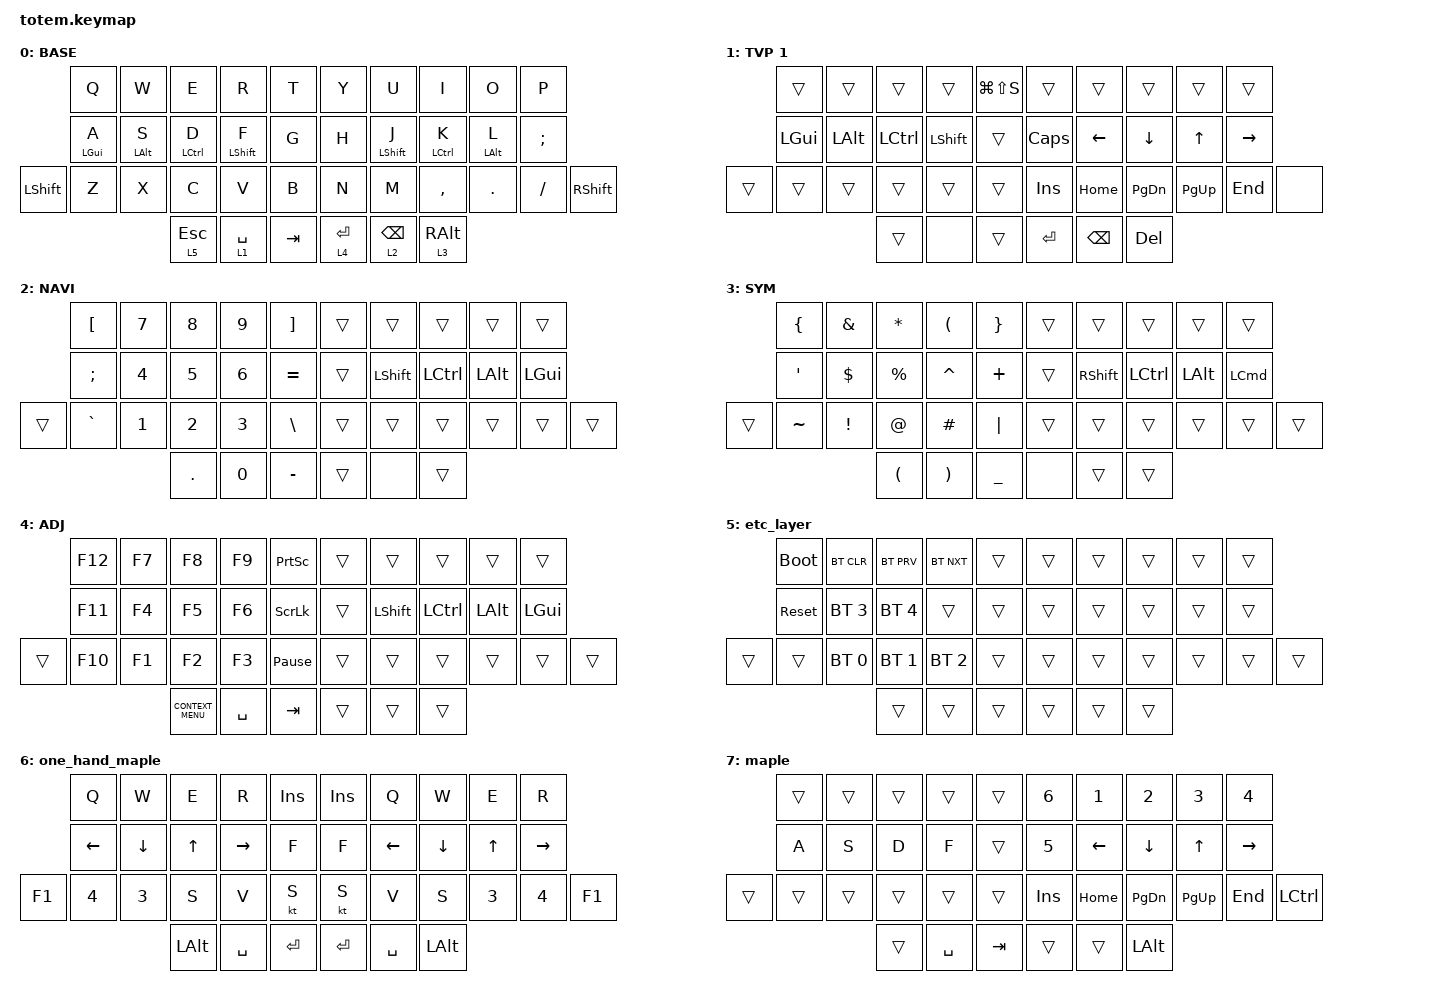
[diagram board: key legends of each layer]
//
//                                                        ▀▀▀▀▀     ▀▀▀▀▀          ▀▀█▀▀
//                                                        ▄▀▀▀▄  ▄  ▄▀▀▀▄  ▄  ▄▀▀▀▄  █  ▄▀▀▀▄
//                                                        █   █  █  █   █  █  █   █  █  █   █
//                                                         ▀▀▀   █   ▀▀▀   █   ▀▀▀   ▀   ▀▀▀
//                                                               █      ▄▄▄█▄▄▄    █   █  
//                                                               ▀      █  █  █     █▄█
//                                                             ▀▀▀▀▀    █  █  █      ▀
//                                                                      ▀  ▀  ▀
//
// ▄▄▄▄▄▄▄▄▄▄▄▄▄▄▄▄▄▄▄▄▄▄▄▄▄▄▄▄▄▄▄▄▄▄▄▄▄▄▄▄▄▄▄▄▄▄▄▄▄▄▄▄▄▄▄▄▄▄▄▄▄▄▄▄▄▄▄▄▄▄▄▄▄▄▄▄▄▄▄▄▄▄▄▄▄▄▄▄▄▄▄▄▄▄▄▄▄▄▄▄▄▄▄▄▄▄▄▄▄▄▄▄▄▄▄▄▄▄▄▄▄▄▄▄▄▄▄▄▄▄▄▄▄▄▄▄▄▄▄▄▄▄▄▄▄▄▄▄▄

#include <behaviors.dtsi>
#include <dt-bindings/zmk/bt.h>
#include <dt-bindings/zmk/keys.h>

#define BASE 0
#define NAV  1
#define SYM  2
#define ADJ  3
#define TVP1 4
#define TVP2 5

&mt {
    quick-tap-ms = <175>;
    flavor = "balanced";
    tapping-term-ms = <230>;
    require-prior-idle-ms = <125>;
};

/ {
    combos {
        compatible = "zmk,combos";

        one-hand_maple {
            bindings = <&tog 6>;
            key-positions = <32 34>;
        };

        maple {
            bindings = <&tog 7>;
            key-positions = <32 37>;
        };

        esc {
            bindings = <&kp ESCAPE>;
            key-positions = <35 0>;
        };

        dia2 {
            bindings = <&tog 0>;
            key-positions = <34 35>;
        };
    };

    behaviors {
        home_row: home_row {
            compatible = "zmk,behavior-hold-tap";
            label = "HOME_ROW";
            bindings = <&kp>, <&kp>;

            #binding-cells = <2>;
            tapping-term-ms = <280>;
            quick-tap-ms = <175>;
            require-prior-idle-ms = <130>;
            flavor = "tap-preferred";
        };
    };

    keymap {
        compatible = "zmk,keymap";

        // ▄▄▄▄▄▄▄▄▄▄▄▄▄▄▄▄▄▄▄▄▄▄▄▄▄▄▄▄▄▄▄▄▄▄▄▄▄▄▄▄▄▄▄▄▄▄▄▄▄▄▄▄▄▄▄▄▄▄▄▄▄▄▄▄▄▄▄▄▄▄▄▄▄▄▄▄▄▄▄▄▄▄▄▄▄▄▄▄▄▄▄▄▄▄▄▄▄▄▄▄▄▄▄▄▄▄▄▄▄▄▄▄▄▄▄▄▄▄▄▄▄▄▄▄▄▄▄▄▄▄▄▄▄▄▄▄▄▄▄▄▄▄▄▄▄▄▄▄▄

        base_layer {
            // ┏━━━━━━━━━━━━━━━━━━━━━━━━━━━━━━━━━━━━━━━┓

            label = "BASE";

            // ┗━━━━━━━━━━━━━━━━━━━━━━━━━━━━━━━━━━━━━━━┛
            //             ┏━━━━━━━━━━━┳━━━━━━━━━━━┳━━━━━━━━━━━┳━━━━━━━━━━━┳━━━━━━━━━━━┓   ┏━━━━━━━━━━━┳━━━━━━━━━━━┳━━━━━━━━━━━┳━━━━━━━━━━━┳━━━━━━━━━━━┓
            //             ┃     Q     ┃     W     ┃     F     ┃     P     ┃     G     ┃   ┃     J     ┃     L     ┃     U     ┃     Y     ┃     ;     ┃
            //             ┣━━━━━━━━━━━╋━━━━━━━━━━━╋━━━━━━━━━━━╋━━━━━━━━━━━╋━━━━━━━━━━━┫   ┣━━━━━━━━━━━╋━━━━━━━━━━━╋━━━━━━━━━━━╋━━━━━━━━━━━╋━━━━━━━━━━━┫
            //             ┃     A     ┃     R     ┃     S     ┃     T     ┃     D     ┃   ┃     H     ┃     N     ┃     E     ┃     I     ┃     O     ┃
            // ┏━━━━━━━━━━━╋━━━━━━━━━━━╋━━━━━━━━━━━╋━━━━━━━━━━━╋━━━━━━━━━━━╋━━━━━━━━━━━┫   ┣━━━━━━━━━━━╋━━━━━━━━━━━╋━━━━━━━━━━━╋━━━━━━━━━━━╋━━━━━━━━━━━╋━━━━━━━━━━━┓
            // ┃     Q     ┃     Z     ┃     X     ┃     C     ┃     V     ┃     B     ┃   ┃     K     ┃     M     ┃     ,     ┃     .     ┃     /     ┃     \     ┃
            // ┗━━━━━━━━━━━┻━━━━━━━━━━━┻━━━━━━━━━━━╋━━━━━━━━━━━╋━━━━━━━━━━━╋━━━━━━━━━━━┫   ┣━━━━━━━━━━━╋━━━━━━━━━━━╋━━━━━━━━━━━╋━━━━━━━━━━━┻━━━━━━━━━━━┻━━━━━━━━━━━┛
            //                                     ┃    DEL    ┃    TAB    ┃    SPC    ┃   ┃   ENTER   ┃           ┃   BSPC    ┃
            //                                     ┗━━━━━━━━━━━┻━━━━━━━━━━━┻━━━━━━━━━━━┛   ┗━━━━━━━━━━━┻━━━━━━━━━━━┻━━━━━━━━━━━┛

            bindings = <
                &kp Q             &kp W             &kp E              &kp R              &kp T      &kp Y        &kp U                   &kp I                     &kp O                 &kp P
                &home_row LGUI A  &home_row LALT S  &home_row LCTRL D  &home_row LSHFT F  &kp G      &kp H        &home_row LEFT_SHIFT J  &home_row LEFT_CONTROL K  &home_row LEFT_ALT L  &kp SEMICOLON
&kp LEFT_SHIFT  &kp Z             &kp X             &kp C              &kp V              &kp B      &kp N        &kp M                   &kp COMMA                 &kp DOT               &kp FSLH       &kp RIGHT_SHIFT
                                                    &lt 5 ESC          &lt 1 SPACE        &kp TAB    &lt 4 ENTER  &lt 2 BACKSPACE         &lt 3 RIGHT_ALT
            >;
        };

        nav_layer {
            // ┏━━━━━━━━━━━━━━━━━━━━━━━━━━━━━━━━━━━━━━━┓

            label = "TVP 1";

            // ┗━━━━━━━━━━━━━━━━━━━━━━━━━━━━━━━━━━━━━━━┛
            //             ┏━━━━━━━━━━━┳━━━━━━━━━━━┳━━━━━━━━━━━┳━━━━━━━━━━━┳━━━━━━━━━━━┓   ┏━━━━━━━━━━━┳━━━━━━━━━━━┳━━━━━━━━━━━┳━━━━━━━━━━━┳━━━━━━━━━━━┓
            //             ┃ NEXT FILE ┃ MARK IN   ┃ ROTATE    ┃ MARK OUT  ┃ SHOW SNAP ┃   ┃           ┃           ┃           ┃           ┃           ┃
            //             ┣━━━━━━━━━━━╋━━━━━━━━━━━╋━━━━━━━━━━━╋━━━━━━━━━━━╋━━━━━━━━━━━┫   ┣━━━━━━━━━━━╋━━━━━━━━━━━╋━━━━━━━━━━━╋━━━━━━━━━━━╋━━━━━━━━━━━┫
            //             ┃ TVP II    ┃ LEFT      ┃ PAN       ┃ RIGHT     ┃ PLAY/FLIP ┃   ┃           ┃           ┃           ┃           ┃           ┃
            // ┏━━━━━━━━━━━╋━━━━━━━━━━━╋━━━━━━━━━━━╋━━━━━━━━━━━╋━━━━━━━━━━━╋━━━━━━━━━━━┫   ┣━━━━━━━━━━━╋━━━━━━━━━━━╋━━━━━━━━━━━╋━━━━━━━━━━━╋━━━━━━━━━━━╋━━━━━━━━━━━┓
            // ┃ FULLSCR   ┃ SHIFT     ┃ COPY      ┃ DELETE    ┃ PASTE     ┃ IMG MARK  ┃   ┃           ┃           ┃           ┃           ┃           ┃           ┃
            // ┗━━━━━━━━━━━┻━━━━━━━━━━━┻━━━━━━━━━━━╋━━━━━━━━━━━╋━━━━━━━━━━━╋━━━━━━━━━━━┫   ┣━━━━━━━━━━━╋━━━━━━━━━━━╋━━━━━━━━━━━╋━━━━━━━━━━━┻━━━━━━━━━━━┻━━━━━━━━━━━┛
            //                                     ┃           ┃ UNDO/SAVE ┃  SEL/MOV  ┃   ┃           ┃           ┃           ┃
            //                                     ┗━━━━━━━━━━━┻━━━━━━━━━━━┻━━━━━━━━━━━┛   ┗━━━━━━━━━━━┻━━━━━━━━━━━┻━━━━━━━━━━━┛

            bindings = <
        &trans        &trans        &trans            &trans          &kp LG(LS(S))    &trans      &trans         &trans         &trans       &trans
        &kp LEFT_GUI  &kp LEFT_ALT  &kp LEFT_CONTROL  &kp LEFT_SHIFT  &trans           &kp CAPS    &kp LEFT       &kp DOWN       &kp UP       &kp RIGHT
&trans  &trans        &trans        &trans            &trans          &trans           &kp INSERT  &kp HOME       &kp PAGE_DOWN  &kp PAGE_UP  &kp END    &none
                                    &trans            &none           &trans           &kp ENTER   &kp BACKSPACE  &kp DELETE
            >;
        };

        num_layer {
            // ┏━━━━━━━━━━━━━━━━━━━━━━━━━━━━━━━━━━━━━━━┓

            label = "NAVI";

            // ┗━━━━━━━━━━━━━━━━━━━━━━━━━━━━━━━━━━━━━━━┛
            //             ┏━━━━━━━━━━━┳━━━━━━━━━━━┳━━━━━━━━━━━┳━━━━━━━━━━━┳━━━━━━━━━━━┓   ┏━━━━━━━━━━━┳━━━━━━━━━━━┳━━━━━━━━━━━┳━━━━━━━━━━━┳━━━━━━━━━━━┓
            //             ┃           ┃           ┃     UP    ┃           ┃     {     ┃   ┃     }     ┃     7     ┃     8     ┃     9     ┃     +     ┃
            //             ┣━━━━━━━━━━━╋━━━━━━━━━━━╋━━━━━━━━━━━╋━━━━━━━━━━━╋━━━━━━━━━━━┫   ┣━━━━━━━━━━━╋━━━━━━━━━━━╋━━━━━━━━━━━╋━━━━━━━━━━━╋━━━━━━━━━━━┫
            //             ┃   SHIFT   ┃   LEFT    ┃    DOWN   ┃   RIGHT   ┃     [     ┃   ┃     ]     ┃     4     ┃     5     ┃     6     ┃     -     ┃
            // ┏━━━━━━━━━━━╋━━━━━━━━━━━╋━━━━━━━━━━━╋━━━━━━━━━━━╋━━━━━━━━━━━╋━━━━━━━━━━━┫   ┣━━━━━━━━━━━╋━━━━━━━━━━━╋━━━━━━━━━━━╋━━━━━━━━━━━╋━━━━━━━━━━━╋━━━━━━━━━━━┓
            // ┃           ┃           ┃   P UP    ┃  C LOCK   ┃  P DOWN   ┃     (     ┃   ┃     )     ┃     1     ┃     2     ┃     3     ┃     *     ┃           ┃
            // ┗━━━━━━━━━━━┻━━━━━━━━━━━┻━━━━━━━━━━━╋━━━━━━━━━━━╋━━━━━━━━━━━╋━━━━━━━━━━━┫   ┣━━━━━━━━━━━╋━━━━━━━━━━━╋━━━━━━━━━━━╋━━━━━━━━━━━┻━━━━━━━━━━━┻━━━━━━━━━━━┛
            //                                     ┃           ┃    TAB    ┃    SPC    ┃   ┃    DEL    ┃     0     ┃           ┃
            //                                     ┗━━━━━━━━━━━┻━━━━━━━━━━━┻━━━━━━━━━━━┛   ┗━━━━━━━━━━━┻━━━━━━━━━━━┻━━━━━━━━━━━┛

            bindings = <
        &kp LEFT_BRACKET  &kp NUMBER_7  &kp NUMBER_8  &kp NUMBER_9  &kp RIGHT_BRACKET    &trans  &trans          &trans     &trans        &trans
        &kp SEMICOLON     &kp NUMBER_4  &kp NUMBER_5  &kp NUMBER_6  &kp EQUAL            &trans  &kp LEFT_SHIFT  &kp LCTRL  &kp LEFT_ALT  &kp LEFT_GUI
&trans  &kp GRAVE         &kp NUMBER_1  &kp NUMBER_2  &kp NUMBER_3  &kp BACKSLASH        &trans  &trans          &trans     &trans        &trans        &trans
                                        &kp PERIOD    &kp N0        &kp MINUS            &trans  &none           &trans
            >;
        };

        sim_layer {
            // ┏━━━━━━━━━━━━━━━━━━━━━━━━━━━━━━━━━━━━━━━┓

            label = "SYM";

            // ┗━━━━━━━━━━━━━━━━━━━━━━━━━━━━━━━━━━━━━━━┛
            //             ┏━━━━━━━━━━━┳━━━━━━━━━━━┳━━━━━━━━━━━┳━━━━━━━━━━━┳━━━━━━━━━━━┓   ┏━━━━━━━━━━━┳━━━━━━━━━━━┳━━━━━━━━━━━┳━━━━━━━━━━━┳━━━━━━━━━━━┓
            //             ┃     !     ┃     @     ┃     #     ┃     $     ┃     %     ┃   ┃     ˆ     ┃     &     ┃     Ü     ┃     '     ┃     "     ┃
            //             ┣━━━━━━━━━━━╋━━━━━━━━━━━╋━━━━━━━━━━━╋━━━━━━━━━━━╋━━━━━━━━━━━┫   ┣━━━━━━━━━━━╋━━━━━━━━━━━╋━━━━━━━━━━━╋━━━━━━━━━━━╋━━━━━━━━━━━┫
            //             ┃     Ä     ┃           ┃    SZ     ┃           ┃           ┃   ┃   MUTE    ┃   YEN     ┃   EURO    ┃  POUND    ┃     Ö     ┃
            // ┏━━━━━━━━━━━╋━━━━━━━━━━━╋━━━━━━━━━━━╋━━━━━━━━━━━╋━━━━━━━━━━━╋━━━━━━━━━━━┫   ┣━━━━━━━━━━━╋━━━━━━━━━━━╋━━━━━━━━━━━╋━━━━━━━━━━━╋━━━━━━━━━━━╋━━━━━━━━━━━┓
            // ┃           ┃  EMAIL1   ┃  EMAIL2   ┃           ┃           ┃           ┃   ┃   VOL-    ┃   VOL+    ┃   LAST    ┃   NEXT    ┃     \     ┃           ┃
            // ┗━━━━━━━━━━━┻━━━━━━━━━━━┻━━━━━━━━━━━╋━━━━━━━━━━━╋━━━━━━━━━━━╋━━━━━━━━━━━┫   ┣━━━━━━━━━━━╋━━━━━━━━━━━╋━━━━━━━━━━━╋━━━━━━━━━━━┻━━━━━━━━━━━┻━━━━━━━━━━━┛
            //                                     ┃           ┃    GIF    ┃    ADJ    ┃   ┃           ┃           ┃           ┃
            //                                     ┗━━━━━━━━━━━┻━━━━━━━━━━━┻━━━━━━━━━━━┛   ┗━━━━━━━━━━━┻━━━━━━━━━━━┻━━━━━━━━━━━┛

            bindings = <
        &kp LEFT_BRACE  &kp AMPS         &kp ASTERISK          &kp LEFT_PARENTHESIS   &kp RIGHT_BRACE    &trans  &trans           &trans            &trans        &trans
        &kp SQT         &kp DOLLAR       &kp PERCENT           &kp CARET              &kp PLUS           &trans  &kp RIGHT_SHIFT  &kp LEFT_CONTROL  &kp LEFT_ALT  &kp LEFT_COMMAND
&trans  &kp TILDE       &kp EXCLAMATION  &kp AT_SIGN           &kp HASH               &kp PIPE           &trans  &trans           &trans            &trans        &trans            &trans
                                         &kp LEFT_PARENTHESIS  &kp RIGHT_PARENTHESIS  &kp UNDERSCORE     &none   &trans           &trans
            >;
        };

        fun_layer {
            // ┏━━━━━━━━━━━━━━━━━━━━━━━━━━━━━━━━━━━━━━━┓

            label = "ADJ";

            // ┗━━━━━━━━━━━━━━━━━━━━━━━━━━━━━━━━━━━━━━━┛
            //             ┏━━━━━━━━━━━┳━━━━━━━━━━━┳━━━━━━━━━━━┳━━━━━━━━━━━┳━━━━━━━━━━━┓   ┏━━━━━━━━━━━┳━━━━━━━━━━━┳━━━━━━━━━━━┳━━━━━━━━━━━┳━━━━━━━━━━━┓
            //             ┃   RESET   ┃ BT CLEAR  ┃  OUT TOG  ┃           ┃           ┃   ┃           ┃    F7     ┃    F8     ┃    F9     ┃    F12    ┃
            //             ┣━━━━━━━━━━━╋━━━━━━━━━━━╋━━━━━━━━━━━╋━━━━━━━━━━━╋━━━━━━━━━━━┫   ┣━━━━━━━━━━━╋━━━━━━━━━━━╋━━━━━━━━━━━╋━━━━━━━━━━━╋━━━━━━━━━━━┫
            //             ┃ BOOTLOAD  ┃ BT NEXT   ┃           ┃           ┃           ┃   ┃           ┃    F4     ┃    F5     ┃    F6     ┃    F11    ┃
            // ┏━━━━━━━━━━━╋━━━━━━━━━━━╋━━━━━━━━━━━╋━━━━━━━━━━━╋━━━━━━━━━━━╋━━━━━━━━━━━┫   ┣━━━━━━━━━━━╋━━━━━━━━━━━╋━━━━━━━━━━━╋━━━━━━━━━━━╋━━━━━━━━━━━╋━━━━━━━━━━━┓
            // ┃           ┃           ┃ BT PREV   ┃           ┃           ┃           ┃   ┃           ┃    F1     ┃    F2     ┃    F3     ┃    F10    ┃           ┃
            // ┗━━━━━━━━━━━┻━━━━━━━━━━━┻━━━━━━━━━━━╋━━━━━━━━━━━╋━━━━━━━━━━━╋━━━━━━━━━━━┫   ┣━━━━━━━━━━━╋━━━━━━━━━━━╋━━━━━━━━━━━╋━━━━━━━━━━━┻━━━━━━━━━━━┻━━━━━━━━━━━┛
            //                                     ┃           ┃           ┃           ┃   ┃           ┃           ┃           ┃
            //                                     ┗━━━━━━━━━━━┻━━━━━━━━━━━┻━━━━━━━━━━━┛   ┗━━━━━━━━━━━┻━━━━━━━━━━━┻━━━━━━━━━━━┛

            bindings = <
        &kp F12  &kp F7  &kp F8              &kp F9     &kp PRINTSCREEN    &trans  &trans          &trans            &trans        &trans
        &kp F11  &kp F4  &kp F5              &kp F6     &kp SCROLLLOCK     &trans  &kp LEFT_SHIFT  &kp LEFT_CONTROL  &kp LEFT_ALT  &kp LEFT_GUI
&trans  &kp F10  &kp F1  &kp F2              &kp F3     &kp PAUSE_BREAK    &trans  &trans          &trans            &trans        &trans        &trans
                         &kp K_CONTEXT_MENU  &kp SPACE  &kp TAB            &trans  &trans          &trans
            >;
        };

        etc_layer {
            bindings = <
        &bootloader  &bt BT_CLR    &bt BT_PRV    &bt BT_NXT    &trans    &trans  &trans  &trans  &trans  &trans
        &sys_reset   &bt BT_SEL 3  &bt BT_SEL 4  &trans        &trans    &trans  &trans  &trans  &trans  &trans
&trans  &trans       &bt BT_SEL 0  &bt BT_SEL 1  &bt BT_SEL 2  &trans    &trans  &trans  &trans  &trans  &trans  &trans
                                   &trans        &trans        &trans    &trans  &trans  &trans
            >;
        };

        one_hand_maple {
            bindings = <
        &kp Q         &kp W         &kp E         &kp R            &kp INSERT    &kp INSERT  &kp Q      &kp W         &kp E         &kp R
        &kp LEFT      &kp DOWN      &kp UP_ARROW  &kp RIGHT_ARROW  &kp F         &kp F       &kp LEFT   &kp DOWN      &kp UP        &kp RIGHT
&kp F1  &kp NUMBER_4  &kp NUMBER_3  &kp S         &kp V            &kt S         &kt S       &kp V      &kp S         &kp NUMBER_3  &kp NUMBER_4  &kp F1
                                    &kp LEFT_ALT  &kp SPACE        &kp ENTER     &kp ENTER   &kp SPACE  &kp LEFT_ALT
            >;
        };

        maple {
            bindings = <
        &trans  &trans  &trans  &trans     &trans     &kp NUMBER_6  &kp NUMBER_1    &kp NUMBER_2    &kp NUMBER_3  &kp NUMBER_4
        &kp A   &kp S   &kp D   &kp F      &trans     &kp N5        &kp LEFT_ARROW  &kp DOWN_ARROW  &kp UP_ARROW  &kp RIGHT_ARROW
&trans  &trans  &trans  &trans  &trans     &trans     &kp INS       &kp HOME        &kp PAGE_DOWN   &kp PAGE_UP   &kp END          &kp LCTRL
                        &trans  &kp SPACE  &kp TAB    &trans        &trans          &kp LEFT_ALT
            >;
        };
    };
};
